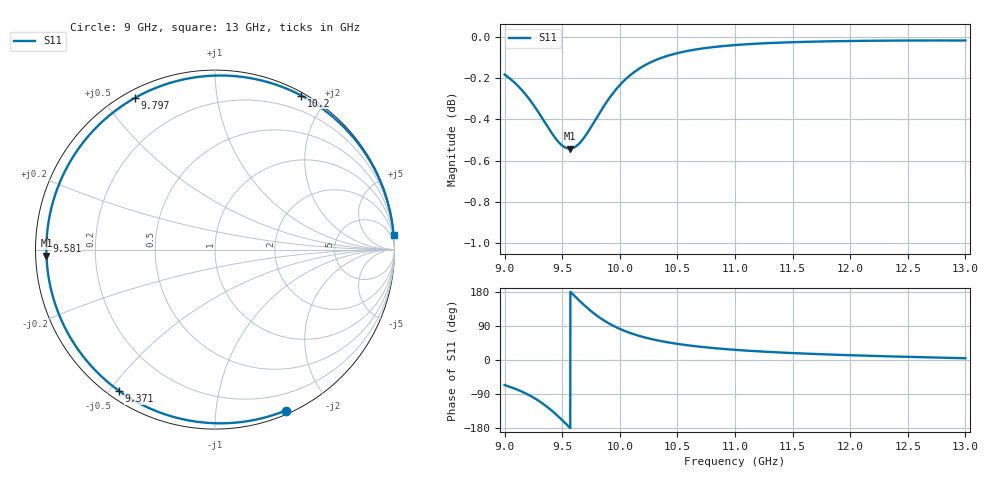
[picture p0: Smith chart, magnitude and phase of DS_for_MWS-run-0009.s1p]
! TOUCHSTONE file generated by CST DESIGN STUDIO
! Date and time: Tue Feb  4 13:39:01 2025
! Project name: C:\Work\MatlabApps\UnitCellOptimizationMatlab\CST\unitcell.cst
! Tree item: Tasks\Sweep1\SPara1\S-Parameters
! Header version: 2024
! Port assignment regex: !\s*Touchstone port\s*([0-9]+)\s*=\s*(CST MWS port|CST DES external port|CST DES block port)\s*(.+)\s* \(\"(.*)\"\)(\s*mode\s*([0-9]+))?.*
! Touchstone port assignment:
! Touchstone port 1 = CST DES external port 1 ("")
# GHz S MA R 50
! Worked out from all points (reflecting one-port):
!   4001 points, 9 GHz to 13 GHz, reference 50 ohm
!   lowest |S11| = -0.5 dB at 9.564 GHz (marker M1), VSWR 32.09, Z = 1.56 - j0.913 ohm
!   phase of S11 starts at -66 deg and turns -289 deg over the sweep
!   S11 on the Smith chart (normalised r, x): 9 GHz: 0.03, -1.53; 9.371 GHz: 0.03, -0.53; 9.581 GHz: 0.03, +0.03; 9.797 GHz: 0.03, +0.60; 10.2 GHz: 0.03, +1.71; 13 GHz: 1, +25
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9  0.9793 -66.3
9.042  0.9773 -70.4
9.109  0.9735 -78.1
9.223  0.9652 -94.4
9.301  0.9582 -108.7
9.371  0.9513 -124.1
9.434  0.9456 -140.1
9.5  0.9412 -158.7
9.533  0.94 -168.5
9.564  0.9396 -177.9
9.581  0.9397 176.9
9.636  0.9416 160.4
9.696  0.9458 143.3
9.746  0.9505 130.1
9.797  0.9557 118.0
9.841  0.9601 108.6
9.888  0.9646 99.6
10  0.9736 82.1
10.097  0.9793 70.5
10.203  0.9839 60.7
10.339  0.988 51.0
10.5  0.9911 42.6
10.721  0.9938 34.2
11  0.9956 26.8
11.5  0.9972 18.3
12  0.9979 12.6
12.5  0.9982 8.3
13  0.9981 4.6
